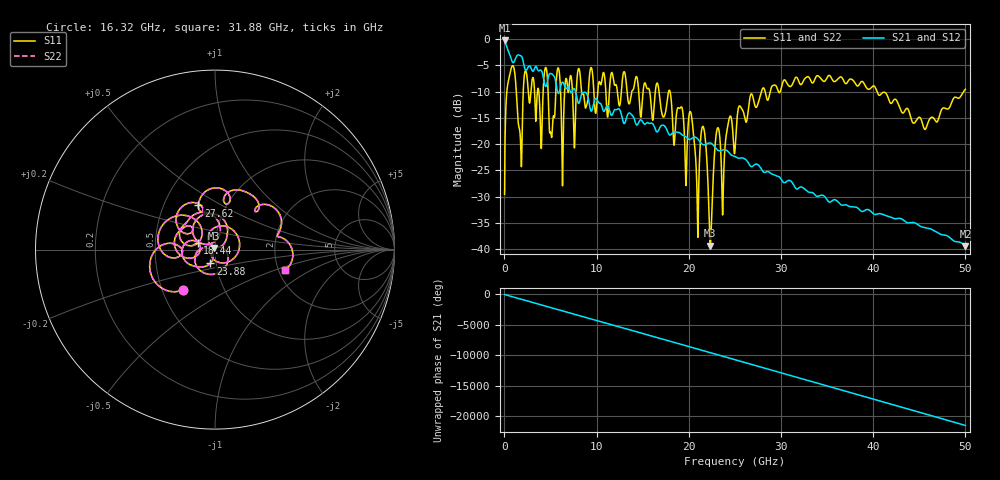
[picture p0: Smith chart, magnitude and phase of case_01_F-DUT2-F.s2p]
# HZ S RI R 50
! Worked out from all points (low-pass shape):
!   2500 points, 20 MHz to 50 GHz, reference 50 ohm
!   highest |S21| = -0.24 dB at 20 MHz (marker M1); lowest = -39.4 dB at 50 GHz (marker M2)
!   |S21| within 3 dB of the highest: start of sweep to 631.4 MHz; 1.316 GHz to 1.838 GHz (522.7 MHz wide, 33.1 % of centre)
!   lowest |S11| = -39.3 dB at 22.32 GHz (marker M3), VSWR 1.02, Z = 49.4 + j0.865 ohm
!   |S11| at or under -10 dB: 16.77 GHz to 17.8 GHz (1.027 GHz wide, 5.94 % of centre); 17.97 GHz to 27.88 GHz (9.909 GHz wide, 43.2 % of centre); 40.41 GHz to 49.8 GHz (9.382 GHz wide, 20.8 % of centre)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
!   |S22| runs from -39.3 to -5.0 dB; largest |S21 - S12| = 0
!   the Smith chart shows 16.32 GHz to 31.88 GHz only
!   S11 on the Smith chart (normalised r, x): 16.32 GHz: 0.64, -0.31; 18.44 GHz: 0.82, +0.06; 23.88 GHz: 0.94, -0.15; 27.62 GHz: 0.74, +0.39; 31.88 GHz: 2.18, -0.58
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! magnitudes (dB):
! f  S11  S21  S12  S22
! 20 MHz  -29.5  -0.2  -0.2  -29.5
! 840 MHz  -5.1  -4.3  -4.3  -5.1
! 1.7 GHz  -18.0  -3.1  -3.1  -18.0
! 2.3 GHz  -6.0  -5.9  -5.9  -6.0
! 5.08 GHz  -18.5  -6.6  -6.6  -18.5
! 5.82 GHz  -5.5  -10.3  -10.3  -5.5
! 8.36 GHz  -10.0  -10.5  -10.5  -10.0
! 16.32 GHz  -10.9  -17.0  -17.0  -10.9
! 16.68 GHz  -8.9  -17.5  -17.5  -8.9
! 18.44 GHz  -19.7  -17.6  -17.6  -19.7
! 20.22 GHz  -14.0  -19.0  -19.0  -14.0
! 20.94 GHz  -34.1  -18.9  -18.9  -34.1
! 21.6 GHz  -16.8  -20.1  -20.1  -16.8
! 22.32 GHz  -39.3  -19.8  -19.8  -39.3
! 23.06 GHz  -17.2  -21.0  -21.0  -17.2
! 23.88 GHz  -21.8  -21.0  -21.0  -21.8
! 25.02 GHz  -20.9  -22.3  -22.3  -20.9
! 27.62 GHz  -11.6  -24.1  -24.1  -11.6
! 31.88 GHz  -7.8  -28.4  -28.4  -7.8
! 33.34 GHz  -8.3  -29.2  -29.2  -8.3
! 41.68 GHz  -11.4  -33.8  -33.8  -11.4
! 50 GHz  -9.5  -39.4  -39.4  -9.5
